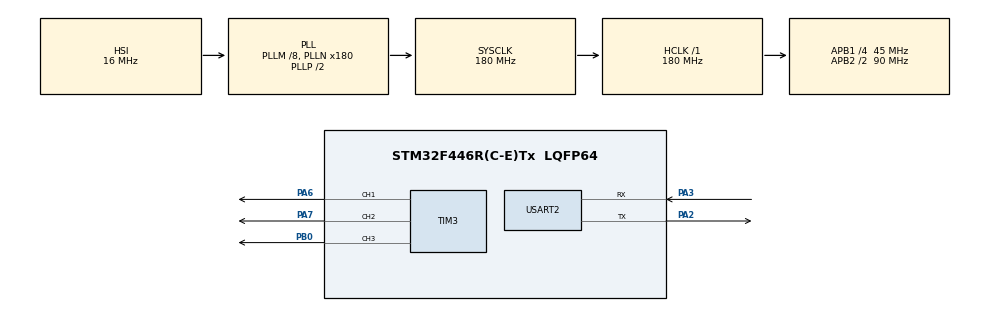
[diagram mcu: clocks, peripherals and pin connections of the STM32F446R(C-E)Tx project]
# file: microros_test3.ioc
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Dma.Request0=USART2_RX
Dma.Request1=USART2_TX
Dma.USART2_RX.0.Direction=DMA_PERIPH_TO_MEMORY
Dma.USART2_RX.0.FIFOMode=DMA_FIFOMODE_DISABLE
Dma.USART2_RX.0.Instance=DMA1_Stream5
Dma.USART2_RX.0.MemDataAlignment=DMA_MDATAALIGN_BYTE
Dma.USART2_RX.0.MemInc=DMA_MINC_ENABLE
Dma.USART2_RX.0.Mode=DMA_CIRCULAR
Dma.USART2_RX.0.PeriphDataAlignment=DMA_PDATAALIGN_BYTE
Dma.USART2_RX.0.PeriphInc=DMA_PINC_DISABLE
Dma.USART2_RX.0.Priority=DMA_PRIORITY_VERY_HIGH
Dma.USART2_TX.1.Direction=DMA_MEMORY_TO_PERIPH
Dma.USART2_TX.1.FIFOMode=DMA_FIFOMODE_DISABLE
Dma.USART2_TX.1.Instance=DMA1_Stream6
Dma.USART2_TX.1.MemDataAlignment=DMA_MDATAALIGN_BYTE
Dma.USART2_TX.1.MemInc=DMA_MINC_ENABLE
Dma.USART2_TX.1.Mode=DMA_NORMAL
Dma.USART2_TX.1.PeriphDataAlignment=DMA_PDATAALIGN_BYTE
Dma.USART2_TX.1.PeriphInc=DMA_PINC_DISABLE
Dma.USART2_TX.1.Priority=DMA_PRIORITY_VERY_HIGH
FREERTOS.Tasks01=defaultTask,24,3000,StartDefaultTask,Default,NULL,Static,defaultTaskBuffer,defaultTaskControlBlock
Mcu.Family=STM32F4
Mcu.Name=STM32F446R(C-E)Tx
Mcu.Package=LQFP64
NVIC.DMA1_Stream5_IRQn=true\:5\:0\:false\:false\:true\:true\:false\:true\:true
NVIC.DMA1_Stream6_IRQn=true\:5\:0\:false\:false\:true\:true\:false\:true\:true
NVIC.PriorityGroup=NVIC_PRIORITYGROUP_4
NVIC.TIM1_UP_TIM10_IRQn=true\:15\:0\:false\:false\:true\:false\:false\:true\:true
NVIC.TIM2_IRQn=true\:5\:0\:false\:false\:true\:true\:true\:true\:true
NVIC.TimeBase=TIM1_UP_TIM10_IRQn
NVIC.TimeBaseIP=TIM1
NVIC.USART2_IRQn=true\:5\:0\:false\:false\:true\:true\:true\:true\:true
PA2.Mode=Asynchronous
PA2.Signal=USART2_TX
PA3.Mode=Asynchronous
PA3.Signal=USART2_RX
PA6.Signal=S_TIM3_CH1
PA7.Signal=S_TIM3_CH2
PB0.Signal=S_TIM3_CH3
PH0-OSC_IN.Mode=HSE-External-Oscillator
PH0-OSC_IN.Signal=RCC_OSC_IN
PH1-OSC_OUT.Mode=HSE-External-Oscillator
PH1-OSC_OUT.Signal=RCC_OSC_OUT
ProjectManager.HeapSize=0x200
ProjectManager.StackSize=0x400
ProjectManager.TargetToolchain=STM32CubeIDE
RCC.AHBFreq_Value=180000000
RCC.APB1CLKDivider=RCC_HCLK_DIV4
RCC.APB1Freq_Value=45000000
RCC.APB1TimFreq_Value=90000000
RCC.APB2CLKDivider=RCC_HCLK_DIV2
RCC.APB2Freq_Value=90000000
RCC.APB2TimFreq_Value=180000000
RCC.CortexFreq_Value=180000000
RCC.HCLKFreq_Value=180000000
RCC.HSE_VALUE=25000000
RCC.PLLM=8
RCC.PLLN=180
RCC.SYSCLKFreq_VALUE=180000000
RCC.SYSCLKSource=RCC_SYSCLKSOURCE_PLLCLK
RCC.USBFreq_Value=180000000
RCC.VCOOutputFreq_Value=360000000
SH.S_TIM3_CH1.0=TIM3_CH1,PWM Generation1 CH1
SH.S_TIM3_CH2.0=TIM3_CH2,PWM Generation2 CH2
SH.S_TIM3_CH3.0=TIM3_CH3,PWM Generation3 CH3
TIM2.AutoReloadPreload=TIM_AUTORELOAD_PRELOAD_ENABLE
TIM2.Period=99999
TIM2.Prescaler=89
TIM3.AutoReloadPreload=TIM_AUTORELOAD_PRELOAD_ENABLE
TIM3.Channel-PWM\ Generation1\ CH1=TIM_CHANNEL_1
TIM3.Channel-PWM\ Generation2\ CH2=TIM_CHANNEL_2
TIM3.Channel-PWM\ Generation3\ CH3=TIM_CHANNEL_3
USART2.VirtualMode=VM_ASYNC
VP_FREERTOS_VS_CMSIS_V2.Mode=CMSIS_V2
VP_SYS_VS_tim1.Mode=TIM1
VP_TIM2_VS_ClockSourceINT.Mode=Internal
VP_TIM3_VS_ClockSourceINT.Mode=Internal
board=custom

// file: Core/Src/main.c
/* USER CODE BEGIN Header */
/**
  ******************************************************************************
  * @file           : main.c
  * @brief          : Main program body
  ******************************************************************************
  * @attention
  *
  * Copyright (c) 2023 STMicroelectronics.
  * All rights reserved.
  *
  * This software is licensed under terms that can be found in the LICENSE file
  * in the root directory of this software component.
  * If no LICENSE file comes with this software, it is provided AS-IS.
  *
  ******************************************************************************
  */
/* USER CODE END Header */
#include "main.h"
#include "cmsis_os.h"
#include "dma.h"
#include "tim.h"
#include "usart.h"
#include "gpio.h"

/* USER CODE BEGIN PV */
extern float pwm_led1;
extern float pwm_led2;
extern float pwm_led3;
float pwm;
/* USER CODE END PV */

void SystemClock_Config(void);
void MX_FREERTOS_Init(void);

int main(void)
{

  /* MCU Configuration--------------------------------------------------------*/

  /* Reset of all peripherals, Initializes the Flash interface and the Systick. */
  HAL_Init();

  /* Configure the system clock */
  SystemClock_Config();

  /* Initialize all configured peripherals */
  MX_GPIO_Init();
  MX_DMA_Init();
  MX_USART2_UART_Init();
  MX_TIM3_Init();
  MX_TIM2_Init();
  /* USER CODE BEGIN 2 */
  HAL_TIM_PWM_Start(&htim3, TIM_CHANNEL_1);
  HAL_TIM_PWM_Start(&htim3, TIM_CHANNEL_2);
  HAL_TIM_PWM_Start(&htim3, TIM_CHANNEL_3);
  HAL_TIM_Base_Start_IT(&htim2);
  /* USER CODE END 2 */

  /* Init scheduler */
  osKernelInitialize();  /* Call init function for freertos objects (in freertos.c) */
  MX_FREERTOS_Init();

  /* Start scheduler */
  osKernelStart();

  /* We should never get here as control is now taken by the scheduler */
  /* Infinite loop */
  while (1)
  {

  }
}

void SystemClock_Config(void)
{
  RCC_OscInitTypeDef RCC_OscInitStruct = {0};
  RCC_ClkInitTypeDef RCC_ClkInitStruct = {0};

  /** Configure the main internal regulator output voltage
  */
  __HAL_RCC_PWR_CLK_ENABLE();
  __HAL_PWR_VOLTAGESCALING_CONFIG(PWR_REGULATOR_VOLTAGE_SCALE1);

  /** Initializes the RCC Oscillators according to the specified parameters
  * in the RCC_OscInitTypeDef structure.
  */
  RCC_OscInitStruct.OscillatorType = RCC_OSCILLATORTYPE_HSI;
  RCC_OscInitStruct.HSIState = RCC_HSI_ON;
  RCC_OscInitStruct.HSICalibrationValue = RCC_HSICALIBRATION_DEFAULT;
  RCC_OscInitStruct.PLL.PLLState = RCC_PLL_ON;
  RCC_OscInitStruct.PLL.PLLSource = RCC_PLLSOURCE_HSI;
  RCC_OscInitStruct.PLL.PLLM = 8;
  RCC_OscInitStruct.PLL.PLLN = 180;
  RCC_OscInitStruct.PLL.PLLP = RCC_PLLP_DIV2;
  RCC_OscInitStruct.PLL.PLLQ = 2;
  RCC_OscInitStruct.PLL.PLLR = 2;
  if (HAL_RCC_OscConfig(&RCC_OscInitStruct) != HAL_OK)
  {
    Error_Handler();
  }

  /** Activate the Over-Drive mode
  */
  if (HAL_PWREx_EnableOverDrive() != HAL_OK)
  {
    Error_Handler();
  }

  /** Initializes the CPU, AHB and APB buses clocks
  */
  RCC_ClkInitStruct.ClockType = RCC_CLOCKTYPE_HCLK|RCC_CLOCKTYPE_SYSCLK
                              |RCC_CLOCKTYPE_PCLK1|RCC_CLOCKTYPE_PCLK2;
  RCC_ClkInitStruct.SYSCLKSource = RCC_SYSCLKSOURCE_PLLCLK;
  RCC_ClkInitStruct.AHBCLKDivider = RCC_SYSCLK_DIV1;
  RCC_ClkInitStruct.APB1CLKDivider = RCC_HCLK_DIV4;
  RCC_ClkInitStruct.APB2CLKDivider = RCC_HCLK_DIV2;

  if (HAL_RCC_ClockConfig(&RCC_ClkInitStruct, FLASH_LATENCY_5) != HAL_OK)
  {
    Error_Handler();
  }
}

void HAL_TIM_PeriodElapsedCallback(TIM_HandleTypeDef *htim)
{
  if (htim->Instance == TIM1) {
    HAL_IncTick();
  }
  /* USER CODE BEGIN Callback 1 */
  if (htim->Instance==TIM2)
  	{

  		TIM3->CCR1=pwm_led1;
  		TIM3->CCR1=pwm_led2;
  		TIM3->CCR1=pwm_led3;
  	}

  /* USER CODE END Callback 1 */
}

void Error_Handler(void)
{
  __disable_irq();
  while (1)
  {
  }
}

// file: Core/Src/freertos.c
/* USER CODE BEGIN Header */
/**
  ******************************************************************************
  * File Name          : freertos.c
  * Description        : Code for freertos applications
  ******************************************************************************
  * @attention
  *
  * Copyright (c) 2023 STMicroelectronics.
  * All rights reserved.
  *
  * This software is licensed under terms that can be found in the LICENSE file
  * in the root directory of this software component.
  * If no LICENSE file comes with this software, it is provided AS-IS.
  *
  ******************************************************************************
  */
/* USER CODE END Header */

#include "FreeRTOS.h"
#include "task.h"
#include "main.h"
#include "cmsis_os.h"

/* USER CODE BEGIN Includes */
#include <stdbool.h>
#include <rcl/rcl.h>
#include <rcl/error_handling.h>
#include <rclc/rclc.h>
#include <rclc/executor.h>
#include <uxr/client/transport.h>
#include <rmw_microxrcedds_c/config.h>
#include <rmw_microros/rmw_microros.h>

#include <std_msgs/msg/int32.h>
#include <std_msgs/msg/float32.h>
#include <std_msgs/msg/string.h>
#include "geometry_msgs/msg/twist.h"
#include <geometry_msgs/msg/vector3.h>
#include <example_interfaces/srv/add_two_ints.h>
#include <std_msgs/msg/int64.h>

#include "usart.h"
//#include "tim.h"
/* USER CODE END Includes */

typedef StaticTask_t osStaticThreadDef_t;

/* USER CODE BEGIN Variables */
rcl_service_t service;
rcl_wait_set_t wait_set;
float led1;
float pwm_led1;
float led2;
float pwm_led2;
float led3;
float pwm_led3;
example_interfaces__srv__AddTwoInts_Response res;
example_interfaces__srv__AddTwoInts_Request req;

/* USER CODE END Variables */
/* Definitions for defaultTask */
osThreadId_t defaultTaskHandle;
uint32_t defaultTaskBuffer[ 3000 ];
osStaticThreadDef_t defaultTaskControlBlock;
const osThreadAttr_t defaultTask_attributes = {
  .name = "defaultTask",
  .cb_mem = &defaultTaskControlBlock,
  .cb_size = sizeof(defaultTaskControlBlock),
  .stack_mem = &defaultTaskBuffer[0],
  .stack_size = sizeof(defaultTaskBuffer),
  .priority = (osPriority_t) osPriorityNormal,
};

/* USER CODE BEGIN FunctionPrototypes */
bool cubemx_transport_open(struct uxrCustomTransport * transport);
bool cubemx_transport_close(struct uxrCustomTransport * transport);
size_t cubemx_transport_write(struct uxrCustomTransport* transport, const uint8_t * buf, size_t len, uint8_t * err);
size_t cubemx_transport_read(struct uxrCustomTransport* transport, uint8_t* buf, size_t len, int timeout, uint8_t* err);

void * microros_allocate(size_t size, void * state);
void microros_deallocate(void * pointer, void * state);
void * microros_reallocate(void * pointer, size_t size, void * state);
void * microros_zero_allocate(size_t number_of_elements, size_t size_of_element, void * state);
float map(float Input, float Min_Input , float Max_Input ,float Min_Output, float Max_Output){

	return (float) ((Input - Min_Input) * (Max_Output - Min_Output) / (Max_Input - Min_Input) + Min_Output);
}

void service_callback(const void * req, void * res)
{
	example_interfaces__srv__AddTwoInts_Request * req_in = (example_interfaces__srv__AddTwoInts_Request *) req;
	example_interfaces__srv__AddTwoInts_Response * res_in = (example_interfaces__srv__AddTwoInts_Response *) res;

	res_in->sum = req_in->a + req_in->b;
	led1=res_in->sum;
	led2=req_in->a;
	led3=req_in->b;
	pwm_led1=map(led1, 0, 255, 0, 65535);
	pwm_led2=map(led2, 0, 255, 0, 65535);
	pwm_led3=map(led3, 0, 255, 0, 65535);

}
/* USER CODE END FunctionPrototypes */

void StartDefaultTask(void *argument);

void MX_FREERTOS_Init(void); /* (MISRA C 2004 rule 8.1) */

void MX_FREERTOS_Init(void) {
  /* USER CODE BEGIN Init */
	//Create a Task handle
	defaultTaskHandle = osThreadNew(StartDefaultTask, NULL, &defaultTask_attributes);
  /* USER CODE END Init */
/* USER CODE BEGIN Header */
/**
  ******************************************************************************
  * File Name          : freertos.c
  * Description        : Code for freertos applications
  ******************************************************************************
  * @attention
  *
  * Copyright (c) 2023 STMicroelectronics.
  * All rights reserved.
  *
  * This software is licensed under terms that can be found in the LICENSE file
  * in the root directory of this software component.
  * If no LICENSE file comes with this software, it is provided AS-IS.
  *
  ******************************************************************************
  */
/* USER CODE END Header */

}

void StartDefaultTask(void *argument)
{
  /* USER CODE BEGIN StartDefaultTask */
  /* Infinite loop */
	rmw_uros_set_custom_transport(
	 true,
	(void *) &huart2,
	cubemx_transport_open,
	cubemx_transport_close,
	cubemx_transport_write,
	cubemx_transport_read);
	rcl_allocator_t freeRTOS_allocator = rcutils_get_zero_initialized_allocator();
	freeRTOS_allocator.allocate = microros_allocate;
	freeRTOS_allocator.deallocate = microros_deallocate;
	freeRTOS_allocator.reallocate = microros_reallocate;
	freeRTOS_allocator.zero_allocate =  microros_zero_allocate;

	if (!rcutils_set_default_allocator(&freeRTOS_allocator)) {
		printf("Error on default allocators (line %d)\n", __LINE__);
	}
	// micro-ROS App //
	 rclc_executor_t executor;
	// Initialize micro-ROS allocator
	rcl_allocator_t allocator;
	allocator = rcl_get_default_allocator();
	// Initialize support object
	 rclc_support_t support;
	rclc_support_init(&support, 0, NULL, &allocator);
	// Create node object
	rcl_node_t node;
	rclc_node_init_default(&node, "stm32f446re_node", "", &support);
	//Create service
	const char * service_name = "/add_two_ints";
	rclc_service_init_default(&service, &node,ROSIDL_GET_SRV_TYPE_SUPPORT(example_interfaces, srv, AddTwoInts),service_name);
	// Create executor
	rclc_executor_init(&executor, &support.context, 1, &allocator);
	rclc_executor_add_service(&executor, &service, &req, &res, service_callback);
	// Spin executor to receive messages
	rclc_executor_prepare(&executor);
	rclc_executor_spin(&executor);
  for(;;)
  {
	  rcl_ret_t ret;
	  ret = rcl_service_fini(&service, &node);
	  if (ret != RCL_RET_OK)
	  {
	  	printf("Error publishing (line %d)\n", __LINE__);
	  }
	  osDelay(10);
  }
  /* USER CODE END StartDefaultTask */
}
